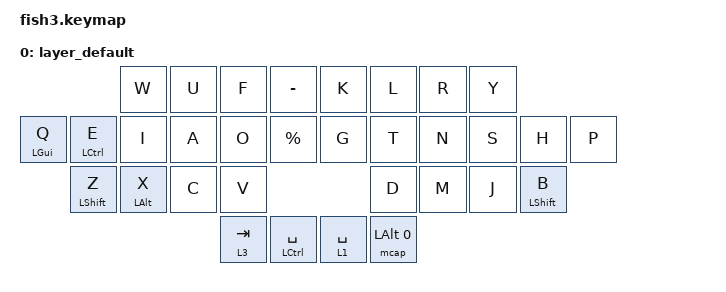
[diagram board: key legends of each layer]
#include <behaviors.dtsi>
#include <dt-bindings/zmk/keys.h>
#include <dt-bindings/zmk/mouse.h>
#include <dt-bindings/zmk/bt.h>
#include <dt-bindings/zmk/outputs.h>

/ {
    keymap {
        compatible = "zmk,keymap";
        layer_default {
            bindings = <
                        &kp W       &kp U       &kp F       &kp MINUS           &kp K       &kp L       &kp R       &kp Y       
&mt LGUI Q  &mt LCTRL E &kp I       &kp A       &kp O       &kp PRCNT           &kp G       &kp T       &kp N       &kp S       &kp H       &kp P       
            &mt LSHFT Z &mt LALT X  &kp C       &kp V                                       &kp D       &kp M       &kp J       &mt LSHFT B 
                                                &lt 3 TAB   &mt LCTRL SPACE     &lt 1 SPACE &mcap LALT  0
            >;
        };
    };
};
